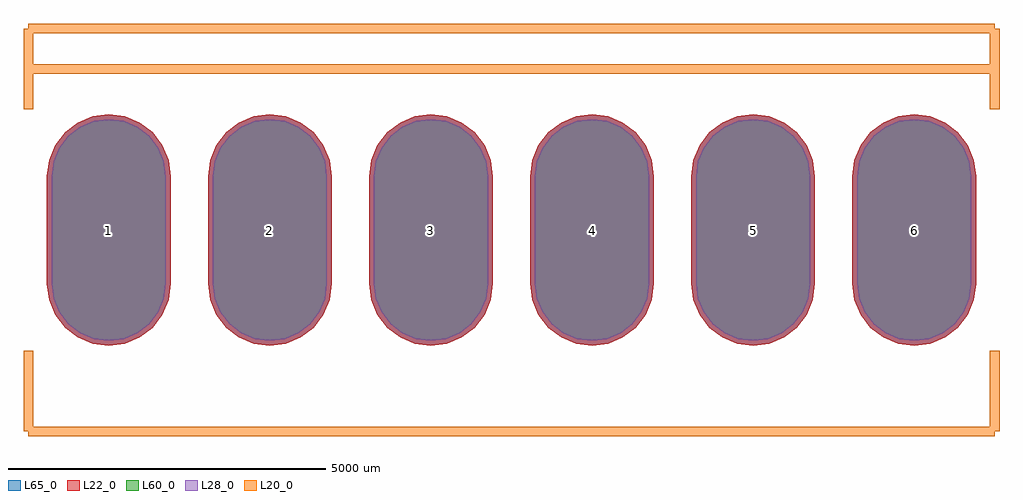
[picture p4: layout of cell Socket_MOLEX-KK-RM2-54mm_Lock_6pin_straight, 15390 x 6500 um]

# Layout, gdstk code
import gdstk
lib = gdstk.Library(unit=1e-6, precision=1e-09)
def P(c, l, *ps):  # polygons
    for p in ps: c.add(gdstk.Polygon(p, *l))
L20_0 = (20, 0)
L22_0 = (22, 0)
L28_0 = (28, 0)
L60_0 = (60, 0)
L65_0 = (65, 0)

socket_molex_kk_rm2_54mm = lib.new_cell('Socket_MOLEX-KK-RM2-54mm_Lock_6pin_straight')
P(socket_molex_kk_rm2_54mm, L22_0, [(6350,-1825.06),(6602.46,-1791.823),(6837.715,-1694.377),(7039.733,-1539.363),(7194.747,-1337.345),(7292.193,-1102.09),(7325.43,-849.63),(7325.43,849.63),(7292.193,1102.09),(7194.747,1337.345),(7039.733,1539.363),(6837.715,1694.377),(6602.46,1791.823),(6350,1825.06),(6097.54,1791.823),(5862.285,1694.377),(5660.267,1539.363),(5505.253,1337.345),(5407.807,1102.09),(5374.57,849.63),(5374.57,-849.63),(5407.807,-1102.09),(5505.253,-1337.345),(5660.267,-1539.363),(5862.285,-1694.377),(6097.54,-1791.823)],
  [(3810,-1825.06),(4062.46,-1791.823),(4297.715,-1694.377),(4499.733,-1539.363),(4654.747,-1337.345),(4752.193,-1102.09),(4785.43,-849.63),(4785.43,849.63),(4752.193,1102.09),(4654.747,1337.345),(4499.733,1539.363),(4297.715,1694.377),(4062.46,1791.823),(3810,1825.06),(3557.54,1791.823),(3322.285,1694.377),(3120.267,1539.363),(2965.253,1337.345),(2867.807,1102.09),(2834.57,849.63),(2834.57,-849.63),(2867.807,-1102.09),(2965.253,-1337.345),(3120.267,-1539.363),(3322.285,-1694.377),(3557.54,-1791.823)],
  [(1270,-1825.06),(1522.46,-1791.823),(1757.715,-1694.377),(1959.733,-1539.363),(2114.747,-1337.345),(2212.193,-1102.09),(2245.43,-849.63),(2245.43,849.63),(2212.193,1102.09),(2114.747,1337.345),(1959.733,1539.363),(1757.715,1694.377),(1522.46,1791.823),(1270,1825.06),(1017.54,1791.823),(782.285,1694.377),(580.267,1539.363),(425.253,1337.345),(327.807,1102.09),(294.57,849.63),(294.57,-849.63),(327.807,-1102.09),(425.253,-1337.345),(580.267,-1539.363),(782.285,-1694.377),(1017.54,-1791.823)],
  [(-1270,-1825.06),(-1017.54,-1791.823),(-782.285,-1694.377),(-580.267,-1539.363),(-425.253,-1337.345),(-327.807,-1102.09),(-294.57,-849.63),(-294.57,849.63),(-327.807,1102.09),(-425.253,1337.345),(-580.267,1539.363),(-782.285,1694.377),(-1017.54,1791.823),(-1270,1825.06),(-1522.46,1791.823),(-1757.715,1694.377),(-1959.733,1539.363),(-2114.747,1337.345),(-2212.193,1102.09),(-2245.43,849.63),(-2245.43,-849.63),(-2212.193,-1102.09),(-2114.747,-1337.345),(-1959.733,-1539.363),(-1757.715,-1694.377),(-1522.46,-1791.823)],
  [(-3810,-1825.06),(-3557.54,-1791.823),(-3322.285,-1694.377),(-3120.267,-1539.363),(-2965.253,-1337.345),(-2867.807,-1102.09),(-2834.57,-849.63),(-2834.57,849.63),(-2867.807,1102.09),(-2965.253,1337.345),(-3120.267,1539.363),(-3322.285,1694.377),(-3557.54,1791.823),(-3810,1825.06),(-4062.46,1791.823),(-4297.715,1694.377),(-4499.733,1539.363),(-4654.747,1337.345),(-4752.193,1102.09),(-4785.43,849.63),(-4785.43,-849.63),(-4752.193,-1102.09),(-4654.747,-1337.345),(-4499.733,-1539.363),(-4297.715,-1694.377),(-4062.46,-1791.823)],
  [(-6350,-1825.06),(-6097.54,-1791.823),(-5862.285,-1694.377),(-5660.267,-1539.363),(-5505.253,-1337.345),(-5407.807,-1102.09),(-5374.57,-849.63),(-5374.57,849.63),(-5407.807,1102.09),(-5505.253,1337.345),(-5660.267,1539.363),(-5862.285,1694.377),(-6097.54,1791.823),(-6350,1825.06),(-6602.46,1791.823),(-6837.715,1694.377),(-7039.733,1539.363),(-7194.747,1337.345),(-7292.193,1102.09),(-7325.43,849.63),(-7325.43,-849.63),(-7292.193,-1102.09),(-7194.747,-1337.345),(-7039.733,-1539.363),(-6837.715,-1694.377),(-6602.46,-1791.823)])
P(socket_molex_kk_rm2_54mm, L28_0, [(6350,-1750.06),(6583.048,-1719.379),(6800.215,-1629.425),(6986.7,-1486.33),(7129.795,-1299.845),(7219.749,-1082.678),(7250.43,-849.63),(7250.43,849.63),(7219.749,1082.678),(7129.795,1299.845),(6986.7,1486.33),(6800.215,1629.425),(6583.048,1719.379),(6350,1750.06),(6116.952,1719.379),(5899.785,1629.425),(5713.3,1486.33),(5570.205,1299.845),(5480.251,1082.678),(5449.57,849.63),(5449.57,-849.63),(5480.251,-1082.678),(5570.205,-1299.845),(5713.3,-1486.33),(5899.785,-1629.425),(6116.952,-1719.379)],
  [(3810,-1750.06),(4043.048,-1719.379),(4260.215,-1629.425),(4446.7,-1486.33),(4589.795,-1299.845),(4679.749,-1082.678),(4710.43,-849.63),(4710.43,849.63),(4679.749,1082.678),(4589.795,1299.845),(4446.7,1486.33),(4260.215,1629.425),(4043.048,1719.379),(3810,1750.06),(3576.952,1719.379),(3359.785,1629.425),(3173.3,1486.33),(3030.205,1299.845),(2940.251,1082.678),(2909.57,849.63),(2909.57,-849.63),(2940.251,-1082.678),(3030.205,-1299.845),(3173.3,-1486.33),(3359.785,-1629.425),(3576.952,-1719.379)],
  [(1270,-1750.06),(1503.048,-1719.379),(1720.215,-1629.425),(1906.7,-1486.33),(2049.795,-1299.845),(2139.749,-1082.678),(2170.43,-849.63),(2170.43,849.63),(2139.749,1082.678),(2049.795,1299.845),(1906.7,1486.33),(1720.215,1629.425),(1503.048,1719.379),(1270,1750.06),(1036.952,1719.379),(819.785,1629.425),(633.3,1486.33),(490.205,1299.845),(400.251,1082.678),(369.57,849.63),(369.57,-849.63),(400.251,-1082.678),(490.205,-1299.845),(633.3,-1486.33),(819.785,-1629.425),(1036.952,-1719.379)],
  [(-1270,-1750.06),(-1036.952,-1719.379),(-819.785,-1629.425),(-633.3,-1486.33),(-490.205,-1299.845),(-400.251,-1082.678),(-369.57,-849.63),(-369.57,849.63),(-400.251,1082.678),(-490.205,1299.845),(-633.3,1486.33),(-819.785,1629.425),(-1036.952,1719.379),(-1270,1750.06),(-1503.048,1719.379),(-1720.215,1629.425),(-1906.7,1486.33),(-2049.795,1299.845),(-2139.749,1082.678),(-2170.43,849.63),(-2170.43,-849.63),(-2139.749,-1082.678),(-2049.795,-1299.845),(-1906.7,-1486.33),(-1720.215,-1629.425),(-1503.048,-1719.379)],
  [(-3810,-1750.06),(-3576.952,-1719.379),(-3359.785,-1629.425),(-3173.3,-1486.33),(-3030.205,-1299.845),(-2940.251,-1082.678),(-2909.57,-849.63),(-2909.57,849.63),(-2940.251,1082.678),(-3030.205,1299.845),(-3173.3,1486.33),(-3359.785,1629.425),(-3576.952,1719.379),(-3810,1750.06),(-4043.048,1719.379),(-4260.215,1629.425),(-4446.7,1486.33),(-4589.795,1299.845),(-4679.749,1082.678),(-4710.43,849.63),(-4710.43,-849.63),(-4679.749,-1082.678),(-4589.795,-1299.845),(-4446.7,-1486.33),(-4260.215,-1629.425),(-4043.048,-1719.379)],
  [(-6350,-1750.06),(-6116.952,-1719.379),(-5899.785,-1629.425),(-5713.3,-1486.33),(-5570.205,-1299.845),(-5480.251,-1082.678),(-5449.57,-849.63),(-5449.57,849.63),(-5480.251,1082.678),(-5570.205,1299.845),(-5713.3,1486.33),(-5899.785,1629.425),(-6116.952,1719.379),(-6350,1750.06),(-6583.048,1719.379),(-6800.215,1629.425),(-6986.7,1486.33),(-7129.795,1299.845),(-7219.749,1082.678),(-7250.43,849.63),(-7250.43,-849.63),(-7219.749,-1082.678),(-7129.795,-1299.845),(-6986.7,-1486.33),(-6800.215,-1629.425),(-6583.048,-1719.379)])
P(socket_molex_kk_rm2_54mm, L60_0, [(6350,-1750.06),(6583.048,-1719.379),(6800.215,-1629.425),(6986.7,-1486.33),(7129.795,-1299.845),(7219.749,-1082.678),(7250.43,-849.63),(7250.43,849.63),(7219.749,1082.678),(7129.795,1299.845),(6986.7,1486.33),(6800.215,1629.425),(6583.048,1719.379),(6350,1750.06),(6116.952,1719.379),(5899.785,1629.425),(5713.3,1486.33),(5570.205,1299.845),(5480.251,1082.678),(5449.57,849.63),(5449.57,-849.63),(5480.251,-1082.678),(5570.205,-1299.845),(5713.3,-1486.33),(5899.785,-1629.425),(6116.952,-1719.379)],
  [(3810,-1750.06),(4043.048,-1719.379),(4260.215,-1629.425),(4446.7,-1486.33),(4589.795,-1299.845),(4679.749,-1082.678),(4710.43,-849.63),(4710.43,849.63),(4679.749,1082.678),(4589.795,1299.845),(4446.7,1486.33),(4260.215,1629.425),(4043.048,1719.379),(3810,1750.06),(3576.952,1719.379),(3359.785,1629.425),(3173.3,1486.33),(3030.205,1299.845),(2940.251,1082.678),(2909.57,849.63),(2909.57,-849.63),(2940.251,-1082.678),(3030.205,-1299.845),(3173.3,-1486.33),(3359.785,-1629.425),(3576.952,-1719.379)],
  [(1270,-1750.06),(1503.048,-1719.379),(1720.215,-1629.425),(1906.7,-1486.33),(2049.795,-1299.845),(2139.749,-1082.678),(2170.43,-849.63),(2170.43,849.63),(2139.749,1082.678),(2049.795,1299.845),(1906.7,1486.33),(1720.215,1629.425),(1503.048,1719.379),(1270,1750.06),(1036.952,1719.379),(819.785,1629.425),(633.3,1486.33),(490.205,1299.845),(400.251,1082.678),(369.57,849.63),(369.57,-849.63),(400.251,-1082.678),(490.205,-1299.845),(633.3,-1486.33),(819.785,-1629.425),(1036.952,-1719.379)],
  [(-1270,-1750.06),(-1036.952,-1719.379),(-819.785,-1629.425),(-633.3,-1486.33),(-490.205,-1299.845),(-400.251,-1082.678),(-369.57,-849.63),(-369.57,849.63),(-400.251,1082.678),(-490.205,1299.845),(-633.3,1486.33),(-819.785,1629.425),(-1036.952,1719.379),(-1270,1750.06),(-1503.048,1719.379),(-1720.215,1629.425),(-1906.7,1486.33),(-2049.795,1299.845),(-2139.749,1082.678),(-2170.43,849.63),(-2170.43,-849.63),(-2139.749,-1082.678),(-2049.795,-1299.845),(-1906.7,-1486.33),(-1720.215,-1629.425),(-1503.048,-1719.379)],
  [(-3810,-1750.06),(-3576.952,-1719.379),(-3359.785,-1629.425),(-3173.3,-1486.33),(-3030.205,-1299.845),(-2940.251,-1082.678),(-2909.57,-849.63),(-2909.57,849.63),(-2940.251,1082.678),(-3030.205,1299.845),(-3173.3,1486.33),(-3359.785,1629.425),(-3576.952,1719.379),(-3810,1750.06),(-4043.048,1719.379),(-4260.215,1629.425),(-4446.7,1486.33),(-4589.795,1299.845),(-4679.749,1082.678),(-4710.43,849.63),(-4710.43,-849.63),(-4679.749,-1082.678),(-4589.795,-1299.845),(-4446.7,-1486.33),(-4260.215,-1629.425),(-4043.048,-1719.379)],
  [(-6350,-1750.06),(-6116.952,-1719.379),(-5899.785,-1629.425),(-5713.3,-1486.33),(-5570.205,-1299.845),(-5480.251,-1082.678),(-5449.57,-849.63),(-5449.57,849.63),(-5480.251,1082.678),(-5570.205,1299.845),(-5713.3,1486.33),(-5899.785,1629.425),(-6116.952,1719.379),(-6350,1750.06),(-6583.048,1719.379),(-6800.215,1629.425),(-6986.7,1486.33),(-7129.795,1299.845),(-7219.749,1082.678),(-7250.43,849.63),(-7250.43,-849.63),(-7219.749,-1082.678),(-7129.795,-1299.845),(-6986.7,-1486.33),(-6800.215,-1629.425),(-6583.048,-1719.379)])
P(socket_molex_kk_rm2_54mm, L65_0, [(6350,-1825.06),(6602.46,-1791.823),(6837.715,-1694.377),(7039.733,-1539.363),(7194.747,-1337.345),(7292.193,-1102.09),(7325.43,-849.63),(7325.43,849.63),(7292.193,1102.09),(7194.747,1337.345),(7039.733,1539.363),(6837.715,1694.377),(6602.46,1791.823),(6350,1825.06),(6097.54,1791.823),(5862.285,1694.377),(5660.267,1539.363),(5505.253,1337.345),(5407.807,1102.09),(5374.57,849.63),(5374.57,-849.63),(5407.807,-1102.09),(5505.253,-1337.345),(5660.267,-1539.363),(5862.285,-1694.377),(6097.54,-1791.823)],
  [(3810,-1825.06),(4062.46,-1791.823),(4297.715,-1694.377),(4499.733,-1539.363),(4654.747,-1337.345),(4752.193,-1102.09),(4785.43,-849.63),(4785.43,849.63),(4752.193,1102.09),(4654.747,1337.345),(4499.733,1539.363),(4297.715,1694.377),(4062.46,1791.823),(3810,1825.06),(3557.54,1791.823),(3322.285,1694.377),(3120.267,1539.363),(2965.253,1337.345),(2867.807,1102.09),(2834.57,849.63),(2834.57,-849.63),(2867.807,-1102.09),(2965.253,-1337.345),(3120.267,-1539.363),(3322.285,-1694.377),(3557.54,-1791.823)],
  [(1270,-1825.06),(1522.46,-1791.823),(1757.715,-1694.377),(1959.733,-1539.363),(2114.747,-1337.345),(2212.193,-1102.09),(2245.43,-849.63),(2245.43,849.63),(2212.193,1102.09),(2114.747,1337.345),(1959.733,1539.363),(1757.715,1694.377),(1522.46,1791.823),(1270,1825.06),(1017.54,1791.823),(782.285,1694.377),(580.267,1539.363),(425.253,1337.345),(327.807,1102.09),(294.57,849.63),(294.57,-849.63),(327.807,-1102.09),(425.253,-1337.345),(580.267,-1539.363),(782.285,-1694.377),(1017.54,-1791.823)],
  [(-1270,-1825.06),(-1017.54,-1791.823),(-782.285,-1694.377),(-580.267,-1539.363),(-425.253,-1337.345),(-327.807,-1102.09),(-294.57,-849.63),(-294.57,849.63),(-327.807,1102.09),(-425.253,1337.345),(-580.267,1539.363),(-782.285,1694.377),(-1017.54,1791.823),(-1270,1825.06),(-1522.46,1791.823),(-1757.715,1694.377),(-1959.733,1539.363),(-2114.747,1337.345),(-2212.193,1102.09),(-2245.43,849.63),(-2245.43,-849.63),(-2212.193,-1102.09),(-2114.747,-1337.345),(-1959.733,-1539.363),(-1757.715,-1694.377),(-1522.46,-1791.823)],
  [(-3810,-1825.06),(-3557.54,-1791.823),(-3322.285,-1694.377),(-3120.267,-1539.363),(-2965.253,-1337.345),(-2867.807,-1102.09),(-2834.57,-849.63),(-2834.57,849.63),(-2867.807,1102.09),(-2965.253,1337.345),(-3120.267,1539.363),(-3322.285,1694.377),(-3557.54,1791.823),(-3810,1825.06),(-4062.46,1791.823),(-4297.715,1694.377),(-4499.733,1539.363),(-4654.747,1337.345),(-4752.193,1102.09),(-4785.43,849.63),(-4785.43,-849.63),(-4752.193,-1102.09),(-4654.747,-1337.345),(-4499.733,-1539.363),(-4297.715,-1694.377),(-4062.46,-1791.823)],
  [(-6350,-1825.06),(-6097.54,-1791.823),(-5862.285,-1694.377),(-5660.267,-1539.363),(-5505.253,-1337.345),(-5407.807,-1102.09),(-5374.57,-849.63),(-5374.57,849.63),(-5407.807,1102.09),(-5505.253,1337.345),(-5660.267,1539.363),(-5862.285,1694.377),(-6097.54,1791.823),(-6350,1825.06),(-6602.46,1791.823),(-6837.715,1694.377),(-7039.733,1539.363),(-7194.747,1337.345),(-7292.193,1102.09),(-7325.43,849.63),(-7325.43,-849.63),(-7292.193,-1102.09),(-7194.747,-1337.345),(-7039.733,-1539.363),(-6837.715,-1694.377),(-6602.46,-1791.823)])
socket_molex_kk_rm2_54mm.add(gdstk.FlexPath([(7620,-3175),(-7620,-3175)], 149.998, ends="flush", simple_path=True, layer=20, datatype=0))  # L20_0
socket_molex_kk_rm2_54mm.add(gdstk.FlexPath([(-7620,-3175),(-7620,-1905)], 149.998, ends="flush", simple_path=True, layer=20, datatype=0))  # L20_0
socket_molex_kk_rm2_54mm.add(gdstk.FlexPath([(7620,3175),(7620,1905)], 149.998, ends="flush", simple_path=True, layer=20, datatype=0))  # L20_0
socket_molex_kk_rm2_54mm.add(gdstk.FlexPath([(-7620,3175),(7620,3175)], 149.998, ends="flush", simple_path=True, layer=20, datatype=0))  # L20_0
socket_molex_kk_rm2_54mm.add(gdstk.FlexPath([(-7620,1905),(-7620,3175)], 149.998, ends="flush", simple_path=True, layer=20, datatype=0))  # L20_0
socket_molex_kk_rm2_54mm.add(gdstk.FlexPath([(7620,2540),(-7620,2540)], 149.998, ends="flush", simple_path=True, layer=20, datatype=0))  # L20_0
socket_molex_kk_rm2_54mm.add(gdstk.FlexPath([(7620,-3175),(7620,-1905)], 149.998, ends="flush", simple_path=True, layer=20, datatype=0))  # L20_0
socket_molex_kk_rm2_54mm.add(gdstk.Label('6', (6350,0), layer=28, texttype=0))
socket_molex_kk_rm2_54mm.add(gdstk.Label('5', (3810,0), layer=28, texttype=0))
socket_molex_kk_rm2_54mm.add(gdstk.Label('4', (1270,0), layer=28, texttype=0))
socket_molex_kk_rm2_54mm.add(gdstk.Label('3', (-1270,0), layer=28, texttype=0))
socket_molex_kk_rm2_54mm.add(gdstk.Label('2', (-3810,0), layer=28, texttype=0))
socket_molex_kk_rm2_54mm.add(gdstk.Label('1', (-6350,0), layer=28, texttype=0))
socket_molex_kk_rm2_54mm.add(gdstk.Label('type', (-635,-5715), layer=9, texttype=0))
socket_molex_kk_rm2_54mm.add(gdstk.Label('devicename', (0,5080), layer=9, texttype=0))

lib.write_gds('Socket_MOLEX-KK-RM2-54mm_Lock_6pin_straight.gds')
